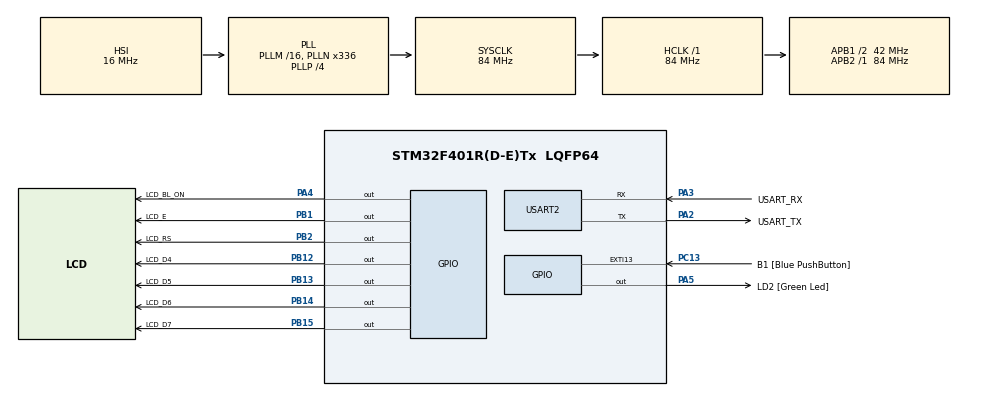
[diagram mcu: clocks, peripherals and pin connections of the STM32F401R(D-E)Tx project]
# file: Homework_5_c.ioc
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Mcu.Family=STM32F4
Mcu.Name=STM32F401R(D-E)Tx
Mcu.Package=LQFP64
NVIC.PriorityGroup=NVIC_PRIORITYGROUP_0
PA13.GPIO_Label=TMS
PA13.Mode=Serial_Wire
PA13.Signal=SYS_JTMS-SWDIO
PA14.GPIO_Label=TCK
PA14.Mode=Serial_Wire
PA14.Signal=SYS_JTCK-SWCLK
PA2.GPIO_Label=USART_TX
PA2.GPIO_Mode=GPIO_MODE_AF_PP
PA2.GPIO_PuPd=GPIO_NOPULL
PA2.GPIO_Speed=GPIO_SPEED_FREQ_LOW
PA2.Mode=Asynchronous
PA2.Signal=USART2_TX
PA3.GPIO_Label=USART_RX
PA3.GPIO_Mode=GPIO_MODE_AF_PP
PA3.GPIO_PuPd=GPIO_NOPULL
PA3.GPIO_Speed=GPIO_SPEED_FREQ_LOW
PA3.Mode=Asynchronous
PA3.Signal=USART2_RX
PA4.GPIO_Label=LCD_BL_ON
PA4.Signal=GPIO_Output
PA5.GPIO_Label=LD2 [Green Led]
PA5.GPIO_Mode=GPIO_MODE_OUTPUT_PP
PA5.GPIO_PuPd=GPIO_NOPULL
PA5.GPIO_Speed=GPIO_SPEED_FREQ_LOW
PA5.Signal=GPIO_Output
PB1.GPIO_Label=LCD_E
PB1.Signal=GPIO_Output
PB12.GPIO_Label=LCD_D4
PB12.Signal=GPIO_Output
PB13.GPIO_Label=LCD_D5
PB13.Signal=GPIO_Output
PB14.GPIO_Label=LCD_D6
PB14.Signal=GPIO_Output
PB15.GPIO_Label=LCD_D7
PB15.Signal=GPIO_Output
PB2.GPIO_Label=LCD_RS
PB2.Signal=GPIO_Output
PB3.GPIO_Label=SWO
PB3.Signal=SYS_JTDO-SWO
PC13-ANTI_TAMP.GPIO_Label=B1 [Blue PushButton]
PC13-ANTI_TAMP.GPIO_ModeDefaultEXTI=GPIO_MODE_IT_FALLING
PC13-ANTI_TAMP.GPIO_PuPd=GPIO_NOPULL
PC13-ANTI_TAMP.Signal=GPXTI13
PC14-OSC32_IN.Mode=LSE-External-Oscillator
PC14-OSC32_IN.Signal=RCC_OSC32_IN
PC15-OSC32_OUT.Mode=LSE-External-Oscillator
PC15-OSC32_OUT.Signal=RCC_OSC32_OUT
PH0\ -\ OSC_IN.Mode=HSE-External-Clock-Source
PH0\ -\ OSC_IN.Signal=RCC_OSC_IN
PH1\ -\ OSC_OUT.Mode=HSE-External-Clock-Source
PH1\ -\ OSC_OUT.Signal=RCC_OSC_OUT
ProjectManager.HeapSize=0x200
ProjectManager.StackSize=0x400
ProjectManager.TargetToolchain=STM32CubeIDE
RCC.48MHZClocksFreq_Value=48000000
RCC.AHBFreq_Value=84000000
RCC.APB1CLKDivider=RCC_HCLK_DIV2
RCC.APB1Freq_Value=42000000
RCC.APB1TimFreq_Value=84000000
RCC.APB2Freq_Value=84000000
RCC.APB2TimFreq_Value=84000000
RCC.CortexFreq_Value=84000000
RCC.HCLKFreq_Value=84000000
RCC.HSE_VALUE=8000000
RCC.HSI_VALUE=16000000
RCC.PLLN=336
RCC.PLLP=RCC_PLLP_DIV4
RCC.PLLQ=7
RCC.SYSCLKFreq_VALUE=84000000
RCC.SYSCLKSource=RCC_SYSCLKSOURCE_PLLCLK
RCC.VCOOutputFreq_Value=336000000
USART2.VirtualMode=VM_ASYNC
board=NUCLEO-F401RE

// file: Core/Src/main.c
/* USER CODE BEGIN Header */
/**
  ******************************************************************************
  * @file           : main.c
  * @brief          : Main program body
  ******************************************************************************
  * @attention
  *
  * Copyright (c) 2024 STMicroelectronics.
  * All rights reserved.
  *
  * This software is licensed under terms that can be found in the LICENSE file
  * in the root directory of this software component.
  * If no LICENSE file comes with this software, it is provided AS-IS.
  *
  ******************************************************************************
  */
/* USER CODE END Header */
#include "main.h"

/* USER CODE BEGIN Includes */
#include "PMDB16_LCD.h"
#include <string.h>
/* USER CODE END Includes */

/* USER CODE BEGIN PD */
#define TOP_ROW 		0
#define BOTTOM_ROW 		1
#define SIZE_ROW		16
/* USER CODE END PD */

UART_HandleTypeDef huart2;

void SystemClock_Config(void);
static void MX_GPIO_Init(void);
static void MX_USART2_UART_Init(void);

/* USER CODE BEGIN 0 */
char rxBuffer[SIZE_ROW];

/**
 * @brief Get characters for the string
 */
void receiveString() {
    uint8_t index = 0; // buffer index
    char ch;
    // Get characters
    while (index < SIZE_ROW) {
        if (HAL_UART_Receive(&huart2, (uint8_t*)&ch, 1, 1000) == HAL_OK) {
            if (ch == '\n' || ch == '\r') {
                break; // Break if end of line
            }
            rxBuffer[index++] = ch; // Add Character to buffer
        }
    }
    rxBuffer[index] = '\0'; // Add null character at the end of the string
}

/**
 * @brief Get and display the string
 */
void displayString() {
    receiveString(); // Get char string
    lcd_println(rxBuffer, TOP_ROW); // Print on LCD
}
/* USER CODE END 0 */

int main(void)
{

  /* MCU Configuration--------------------------------------------------------*/

  /* Reset of all peripherals, Initializes the Flash interface and the Systick. */
  HAL_Init();

  /* Configure the system clock */
  SystemClock_Config();

  /* Initialize all configured peripherals */
  MX_GPIO_Init();
  MX_USART2_UART_Init();
  /* USER CODE BEGIN 2 */

  lcd_initialize(); 	// Initialize the LCD controller
  lcd_backlight_ON(); 	// Turn ON the LCD backlight
  lcd_clear(); 			// Clear the LCD
  /* USER CODE END 2 */

  /* Infinite loop */
  /* USER CODE BEGIN WHILE */
  while (1)
  {
	  displayString(); // Call of printing function

    /* USER CODE END WHILE */

  }
}

void SystemClock_Config(void)
{
  RCC_OscInitTypeDef RCC_OscInitStruct = {0};
  RCC_ClkInitTypeDef RCC_ClkInitStruct = {0};

  /** Configure the main internal regulator output voltage
  */
  __HAL_RCC_PWR_CLK_ENABLE();
  __HAL_PWR_VOLTAGESCALING_CONFIG(PWR_REGULATOR_VOLTAGE_SCALE2);

  /** Initializes the RCC Oscillators according to the specified parameters
  * in the RCC_OscInitTypeDef structure.
  */
  RCC_OscInitStruct.OscillatorType = RCC_OSCILLATORTYPE_HSI;
  RCC_OscInitStruct.HSIState = RCC_HSI_ON;
  RCC_OscInitStruct.HSICalibrationValue = RCC_HSICALIBRATION_DEFAULT;
  RCC_OscInitStruct.PLL.PLLState = RCC_PLL_ON;
  RCC_OscInitStruct.PLL.PLLSource = RCC_PLLSOURCE_HSI;
  RCC_OscInitStruct.PLL.PLLM = 16;
  RCC_OscInitStruct.PLL.PLLN = 336;
  RCC_OscInitStruct.PLL.PLLP = RCC_PLLP_DIV4;
  RCC_OscInitStruct.PLL.PLLQ = 7;
  if (HAL_RCC_OscConfig(&RCC_OscInitStruct) != HAL_OK)
  {
    Error_Handler();
  }

  /** Initializes the CPU, AHB and APB buses clocks
  */
  RCC_ClkInitStruct.ClockType = RCC_CLOCKTYPE_HCLK|RCC_CLOCKTYPE_SYSCLK
                              |RCC_CLOCKTYPE_PCLK1|RCC_CLOCKTYPE_PCLK2;
  RCC_ClkInitStruct.SYSCLKSource = RCC_SYSCLKSOURCE_PLLCLK;
  RCC_ClkInitStruct.AHBCLKDivider = RCC_SYSCLK_DIV1;
  RCC_ClkInitStruct.APB1CLKDivider = RCC_HCLK_DIV2;
  RCC_ClkInitStruct.APB2CLKDivider = RCC_HCLK_DIV1;

  if (HAL_RCC_ClockConfig(&RCC_ClkInitStruct, FLASH_LATENCY_2) != HAL_OK)
  {
    Error_Handler();
  }
}

static void MX_USART2_UART_Init(void)
{

  huart2.Instance = USART2;
  huart2.Init.BaudRate = 115200;
  huart2.Init.WordLength = UART_WORDLENGTH_8B;
  huart2.Init.StopBits = UART_STOPBITS_1;
  huart2.Init.Parity = UART_PARITY_NONE;
  huart2.Init.Mode = UART_MODE_TX_RX;
  huart2.Init.HwFlowCtl = UART_HWCONTROL_NONE;
  huart2.Init.OverSampling = UART_OVERSAMPLING_16;
  if (HAL_UART_Init(&huart2) != HAL_OK)
  {
    Error_Handler();
  }

}

static void MX_GPIO_Init(void)
{
  GPIO_InitTypeDef GPIO_InitStruct = {0};

  /* GPIO Ports Clock Enable */
  __HAL_RCC_GPIOC_CLK_ENABLE();
  __HAL_RCC_GPIOH_CLK_ENABLE();
  __HAL_RCC_GPIOA_CLK_ENABLE();
  __HAL_RCC_GPIOB_CLK_ENABLE();

  /*Configure GPIO pin Output Level */
  HAL_GPIO_WritePin(GPIOA, LCD_BL_ON_Pin|LD2_Pin, GPIO_PIN_RESET);

  /*Configure GPIO pin Output Level */
  HAL_GPIO_WritePin(GPIOB, LCD_E_Pin|LCD_RS_Pin|LCD_D4_Pin|LCD_D5_Pin
                          |LCD_D6_Pin|LCD_D7_Pin, GPIO_PIN_RESET);

  /*Configure GPIO pin : B1_Pin */
  GPIO_InitStruct.Pin = B1_Pin;
  GPIO_InitStruct.Mode = GPIO_MODE_IT_FALLING;
  GPIO_InitStruct.Pull = GPIO_NOPULL;
  HAL_GPIO_Init(B1_GPIO_Port, &GPIO_InitStruct);

  /*Configure GPIO pins : LCD_BL_ON_Pin LD2_Pin */
  GPIO_InitStruct.Pin = LCD_BL_ON_Pin|LD2_Pin;
  GPIO_InitStruct.Mode = GPIO_MODE_OUTPUT_PP;
  GPIO_InitStruct.Pull = GPIO_NOPULL;
  GPIO_InitStruct.Speed = GPIO_SPEED_FREQ_LOW;
  HAL_GPIO_Init(GPIOA, &GPIO_InitStruct);

  /*Configure GPIO pins : LCD_E_Pin LCD_RS_Pin LCD_D4_Pin LCD_D5_Pin
                           LCD_D6_Pin LCD_D7_Pin */
  GPIO_InitStruct.Pin = LCD_E_Pin|LCD_RS_Pin|LCD_D4_Pin|LCD_D5_Pin
                          |LCD_D6_Pin|LCD_D7_Pin;
  GPIO_InitStruct.Mode = GPIO_MODE_OUTPUT_PP;
  GPIO_InitStruct.Pull = GPIO_NOPULL;
  GPIO_InitStruct.Speed = GPIO_SPEED_FREQ_LOW;
  HAL_GPIO_Init(GPIOB, &GPIO_InitStruct);

}

void Error_Handler(void)
{
  __disable_irq();
  while (1)
  {
  }
}
